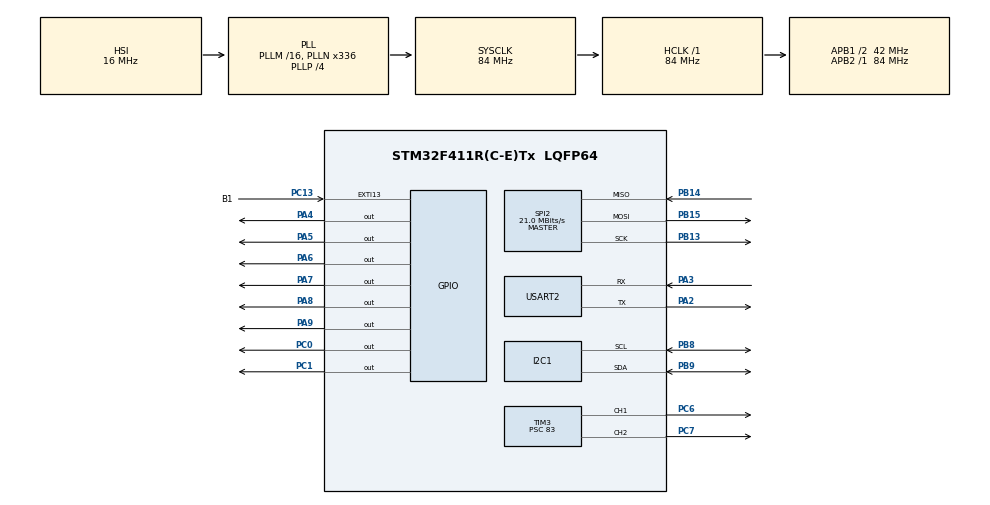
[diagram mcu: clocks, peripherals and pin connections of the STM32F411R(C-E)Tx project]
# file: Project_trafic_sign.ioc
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Mcu.Family=STM32F4
Mcu.Name=STM32F411R(C-E)Tx
Mcu.Package=LQFP64
NVIC.PriorityGroup=NVIC_PRIORITYGROUP_0
NVIC.TIM2_IRQn=true\:0\:0\:false\:false\:true\:true\:true\:true
PA2.Mode=Asynchronous
PA2.Signal=USART2_TX
PA3.Mode=Asynchronous
PA3.Signal=USART2_RX
PA4.Signal=GPIO_Output
PA5.Signal=GPIO_Output
PA6.Signal=GPIO_Output
PA7.Signal=GPIO_Output
PA8.Signal=GPIO_Output
PA9.Signal=GPIO_Output
PB13.Mode=Full_Duplex_Master
PB13.Signal=SPI2_SCK
PB14.Mode=Full_Duplex_Master
PB14.Signal=SPI2_MISO
PB15.Mode=Full_Duplex_Master
PB15.Signal=SPI2_MOSI
PB8.Mode=I2C
PB8.Signal=I2C1_SCL
PB9.Mode=I2C
PB9.Signal=I2C1_SDA
PC0.Signal=GPIO_Output
PC1.Signal=GPIO_Output
PC13-ANTI_TAMP.GPIO_Label=B1
PC13-ANTI_TAMP.GPIO_ModeDefaultEXTI=GPIO_MODE_IT_RISING_FALLING
PC13-ANTI_TAMP.Signal=GPXTI13
PC6.Signal=S_TIM3_CH1
PC7.Signal=S_TIM3_CH2
PH0\ -\ OSC_IN.Mode=HSE-External-Oscillator
PH0\ -\ OSC_IN.Signal=RCC_OSC_IN
PH1\ -\ OSC_OUT.Mode=HSE-External-Oscillator
PH1\ -\ OSC_OUT.Signal=RCC_OSC_OUT
ProjectManager.HeapSize=0x200
ProjectManager.StackSize=0x400
ProjectManager.TargetToolchain=STM32CubeIDE
RCC.48MHZClocksFreq_Value=84000000
RCC.AHBFreq_Value=84000000
RCC.APB1CLKDivider=RCC_HCLK_DIV2
RCC.APB1Freq_Value=42000000
RCC.APB1TimFreq_Value=84000000
RCC.APB2Freq_Value=84000000
RCC.APB2TimFreq_Value=84000000
RCC.CortexFreq_Value=84000000
RCC.FLatency-AdvancedSettings=FLASH_LATENCY_2
RCC.HCLKFreq_Value=84000000
RCC.HSE_VALUE=8000000
RCC.HSI_VALUE=16000000
RCC.LSE_VALUE=32768
RCC.PLLN=336
RCC.PLLP=RCC_PLLP_DIV4
RCC.SYSCLKFreq_VALUE=84000000
RCC.SYSCLKSource=RCC_SYSCLKSOURCE_PLLCLK
RCC.VCOOutputFreq_Value=336000000
SH.S_TIM3_CH1.0=TIM3_CH1,PWM Generation1 CH1
SH.S_TIM3_CH2.0=TIM3_CH2,PWM Generation2 CH2
SPI2.CalculateBaudRate=21.0 MBits/s
SPI2.Direction=SPI_DIRECTION_2LINES
SPI2.Mode=SPI_MODE_MASTER
SPI2.VirtualType=VM_MASTER
TIM2.AutoReloadPreload=TIM_AUTORELOAD_PRELOAD_ENABLE
TIM2.Period=9999
TIM2.Prescaler=8399
TIM3.Channel-PWM\ Generation1\ CH1=TIM_CHANNEL_1
TIM3.Channel-PWM\ Generation2\ CH2=TIM_CHANNEL_2
TIM3.Period=19999
TIM3.Prescaler=83
USART2.VirtualMode=VM_ASYNC
VP_TIM2_VS_ClockSourceINT.Mode=Internal
board=NUCLEO-F411RE

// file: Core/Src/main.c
/* USER CODE BEGIN Header */
/**
  ******************************************************************************
  * @file           : main.c
  * @brief          : Main program body
  ******************************************************************************
  * @attention
  *
  * Copyright (c) 2025 STMicroelectronics.
  * All rights reserved.
  *
  * This software is licensed under terms that can be found in the LICENSE file
  * in the root directory of this software component.
  * If no LICENSE file comes with this software, it is provided AS-IS.
  *
  ******************************************************************************
  */
/* USER CODE END Header */
#include "main.h"

/* USER CODE BEGIN Includes */
#include <stdbool.h>
#include <stdio.h>
#include "my_lcd_i2c.h"
#include "RC522.h"
#include "string.h"
/* USER CODE END Includes */

I2C_HandleTypeDef hi2c1;

SPI_HandleTypeDef hspi2;

TIM_HandleTypeDef htim2;
TIM_HandleTypeDef htim3;

UART_HandleTypeDef huart2;

/* USER CODE BEGIN PV */
typedef enum {
    PED_GREEN,   // 보행자 초록
    PED_YELLOW,  // 보행자 주황
    PED_RED      // 보행자 빨강
} PedestrianState;

typedef enum {
    CAR_GREEN,   // 차량 초록
    CAR_YELLOW,  // 차량 대기(노랑)
    CAR_RED      // 차량 빨강
} CarState;

volatile PedestrianState pedState = PED_RED;
volatile CarState carState = CAR_GREEN;
volatile uint32_t timer_count = 0;
/* USER CODE END PV */

void SystemClock_Config(void);
static void MX_GPIO_Init(void);
static void MX_TIM2_Init(void);
static void MX_USART2_UART_Init(void);
static void MX_TIM3_Init(void);
static void MX_I2C1_Init(void);
static void MX_SPI2_Init(void);

int main(void)
{

  /* MCU Configuration--------------------------------------------------------*/

  /* Reset of all peripherals, Initializes the Flash interface and the Systick. */
  HAL_Init();

  /* Configure the system clock */
  SystemClock_Config();

  /* Initialize all configured peripherals */
  MX_GPIO_Init();
  MX_TIM2_Init();
  MX_USART2_UART_Init();
  MX_TIM3_Init();
  MX_I2C1_Init();
  MX_SPI2_Init();
  MFRC522_Init();
  /* USER CODE BEGIN 2 */
  /* USER CODE BEGIN 2 */

  pedState = PED_RED;
  carState = CAR_GREEN;
  timer_count = 5;
  Set_LED_State(pedState, carState);
  HAL_TIM_Base_Start_IT(&htim2);
  HAL_TIM_PWM_Start(&htim3, TIM_CHANNEL_1);
  HAL_TIM_PWM_Start(&htim3, TIM_CHANNEL_2);

  Servo_Write(&htim3, TIM_CHANNEL_1, 0);    // 초기 0도로 정렬
  Servo_Write(&htim3, TIM_CHANNEL_2, 0);
  HAL_Delay(500);   // 안정화 대기

  uint8_t status;
  uint8_t str[64];

  int __io_putchar(int ch)
  {
      HAL_UART_Transmit(&huart2, (uint8_t*)&ch, 1, HAL_MAX_DELAY);
      return ch;
  }
  /* USER CODE END 2 */

  /* Infinite loop */
  while (1)
  {

    /* USER CODE BEGIN 3 */
	  status = MFRC522_Request(PICC_REQIDL, str);  // 카드 인식 확인
	      if (status == MI_OK)
	      {
	          printf("Card detected\n");
	      }

	      status = MFRC522_Anticoll(str);  // UID 읽기
	      if (status == MI_OK)
	      {
	          printf("UID: ");
	          for (int i = 0; i < 4; i++)
	          {
	              printf("%02X ", str[i]);
	          }
	          printf("\r\n");
	          HAL_Delay(1000);
	      }
  }
  /* USER CODE END 3 */
}

void SystemClock_Config(void)
{
  RCC_OscInitTypeDef RCC_OscInitStruct = {0};
  RCC_ClkInitTypeDef RCC_ClkInitStruct = {0};

  /** Configure the main internal regulator output voltage
  */
  __HAL_RCC_PWR_CLK_ENABLE();
  __HAL_PWR_VOLTAGESCALING_CONFIG(PWR_REGULATOR_VOLTAGE_SCALE1);

  /** Initializes the RCC Oscillators according to the specified parameters
  * in the RCC_OscInitTypeDef structure.
  */
  RCC_OscInitStruct.OscillatorType = RCC_OSCILLATORTYPE_HSI;
  RCC_OscInitStruct.HSIState = RCC_HSI_ON;
  RCC_OscInitStruct.HSICalibrationValue = RCC_HSICALIBRATION_DEFAULT;
  RCC_OscInitStruct.PLL.PLLState = RCC_PLL_ON;
  RCC_OscInitStruct.PLL.PLLSource = RCC_PLLSOURCE_HSI;
  RCC_OscInitStruct.PLL.PLLM = 16;
  RCC_OscInitStruct.PLL.PLLN = 336;
  RCC_OscInitStruct.PLL.PLLP = RCC_PLLP_DIV4;
  RCC_OscInitStruct.PLL.PLLQ = 4;
  if (HAL_RCC_OscConfig(&RCC_OscInitStruct) != HAL_OK)
  {
    Error_Handler();
  }

  /** Initializes the CPU, AHB and APB buses clocks
  */
  RCC_ClkInitStruct.ClockType = RCC_CLOCKTYPE_HCLK|RCC_CLOCKTYPE_SYSCLK
                              |RCC_CLOCKTYPE_PCLK1|RCC_CLOCKTYPE_PCLK2;
  RCC_ClkInitStruct.SYSCLKSource = RCC_SYSCLKSOURCE_PLLCLK;
  RCC_ClkInitStruct.AHBCLKDivider = RCC_SYSCLK_DIV1;
  RCC_ClkInitStruct.APB1CLKDivider = RCC_HCLK_DIV2;
  RCC_ClkInitStruct.APB2CLKDivider = RCC_HCLK_DIV1;

  if (HAL_RCC_ClockConfig(&RCC_ClkInitStruct, FLASH_LATENCY_2) != HAL_OK)
  {
    Error_Handler();
  }
}

static void MX_I2C1_Init(void)
{

  hi2c1.Instance = I2C1;
  hi2c1.Init.ClockSpeed = 100000;
  hi2c1.Init.DutyCycle = I2C_DUTYCYCLE_2;
  hi2c1.Init.OwnAddress1 = 0;
  hi2c1.Init.AddressingMode = I2C_ADDRESSINGMODE_7BIT;
  hi2c1.Init.DualAddressMode = I2C_DUALADDRESS_DISABLE;
  hi2c1.Init.OwnAddress2 = 0;
  hi2c1.Init.GeneralCallMode = I2C_GENERALCALL_DISABLE;
  hi2c1.Init.NoStretchMode = I2C_NOSTRETCH_DISABLE;
  if (HAL_I2C_Init(&hi2c1) != HAL_OK)
  {
    Error_Handler();
  }

}

static void MX_SPI2_Init(void)
{

  /* SPI2 parameter configuration*/
  hspi2.Instance = SPI2;
  hspi2.Init.Mode = SPI_MODE_MASTER;
  hspi2.Init.Direction = SPI_DIRECTION_2LINES;
  hspi2.Init.DataSize = SPI_DATASIZE_8BIT;
  hspi2.Init.CLKPolarity = SPI_POLARITY_LOW;
  hspi2.Init.CLKPhase = SPI_PHASE_1EDGE;
  hspi2.Init.NSS = SPI_NSS_SOFT;
  hspi2.Init.BaudRatePrescaler = SPI_BAUDRATEPRESCALER_2;
  hspi2.Init.FirstBit = SPI_FIRSTBIT_MSB;
  hspi2.Init.TIMode = SPI_TIMODE_DISABLE;
  hspi2.Init.CRCCalculation = SPI_CRCCALCULATION_DISABLE;
  hspi2.Init.CRCPolynomial = 10;
  if (HAL_SPI_Init(&hspi2) != HAL_OK)
  {
    Error_Handler();
  }

}

static void MX_TIM2_Init(void)
{

  TIM_ClockConfigTypeDef sClockSourceConfig = {0};
  TIM_MasterConfigTypeDef sMasterConfig = {0};

  htim2.Instance = TIM2;
  htim2.Init.Prescaler = 8399;
  htim2.Init.CounterMode = TIM_COUNTERMODE_UP;
  htim2.Init.Period = 9999;
  htim2.Init.ClockDivision = TIM_CLOCKDIVISION_DIV1;
  htim2.Init.AutoReloadPreload = TIM_AUTORELOAD_PRELOAD_ENABLE;
  if (HAL_TIM_Base_Init(&htim2) != HAL_OK)
  {
    Error_Handler();
  }
  sClockSourceConfig.ClockSource = TIM_CLOCKSOURCE_INTERNAL;
  if (HAL_TIM_ConfigClockSource(&htim2, &sClockSourceConfig) != HAL_OK)
  {
    Error_Handler();
  }
  sMasterConfig.MasterOutputTrigger = TIM_TRGO_RESET;
  sMasterConfig.MasterSlaveMode = TIM_MASTERSLAVEMODE_DISABLE;
  if (HAL_TIMEx_MasterConfigSynchronization(&htim2, &sMasterConfig) != HAL_OK)
  {
    Error_Handler();
  }

}

static void MX_TIM3_Init(void)
{

  TIM_MasterConfigTypeDef sMasterConfig = {0};
  TIM_OC_InitTypeDef sConfigOC = {0};

  htim3.Instance = TIM3;
  htim3.Init.Prescaler = 83;
  htim3.Init.CounterMode = TIM_COUNTERMODE_UP;
  htim3.Init.Period = 19999;
  htim3.Init.ClockDivision = TIM_CLOCKDIVISION_DIV1;
  htim3.Init.AutoReloadPreload = TIM_AUTORELOAD_PRELOAD_DISABLE;
  if (HAL_TIM_PWM_Init(&htim3) != HAL_OK)
  {
    Error_Handler();
  }
  sMasterConfig.MasterOutputTrigger = TIM_TRGO_RESET;
  sMasterConfig.MasterSlaveMode = TIM_MASTERSLAVEMODE_DISABLE;
  if (HAL_TIMEx_MasterConfigSynchronization(&htim3, &sMasterConfig) != HAL_OK)
  {
    Error_Handler();
  }
  sConfigOC.OCMode = TIM_OCMODE_PWM1;
  sConfigOC.Pulse = 0;
  sConfigOC.OCPolarity = TIM_OCPOLARITY_HIGH;
  sConfigOC.OCFastMode = TIM_OCFAST_DISABLE;
  if (HAL_TIM_PWM_ConfigChannel(&htim3, &sConfigOC, TIM_CHANNEL_1) != HAL_OK)
  {
    Error_Handler();
  }
  if (HAL_TIM_PWM_ConfigChannel(&htim3, &sConfigOC, TIM_CHANNEL_2) != HAL_OK)
  {
    Error_Handler();
  }
  HAL_TIM_MspPostInit(&htim3);

}

static void MX_USART2_UART_Init(void)
{

  huart2.Instance = USART2;
  huart2.Init.BaudRate = 115200;
  huart2.Init.WordLength = UART_WORDLENGTH_8B;
  huart2.Init.StopBits = UART_STOPBITS_1;
  huart2.Init.Parity = UART_PARITY_NONE;
  huart2.Init.Mode = UART_MODE_TX_RX;
  huart2.Init.HwFlowCtl = UART_HWCONTROL_NONE;
  huart2.Init.OverSampling = UART_OVERSAMPLING_16;
  if (HAL_UART_Init(&huart2) != HAL_OK)
  {
    Error_Handler();
  }

}

static void MX_GPIO_Init(void)
{
  GPIO_InitTypeDef GPIO_InitStruct = {0};

  /* GPIO Ports Clock Enable */
  __HAL_RCC_GPIOC_CLK_ENABLE();
  __HAL_RCC_GPIOH_CLK_ENABLE();
  __HAL_RCC_GPIOA_CLK_ENABLE();
  __HAL_RCC_GPIOB_CLK_ENABLE();

  /*Configure GPIO pin Output Level */
  HAL_GPIO_WritePin(GPIOC, GPIO_PIN_0|GPIO_PIN_1, GPIO_PIN_RESET);

  /*Configure GPIO pin Output Level */
  HAL_GPIO_WritePin(GPIOA, GPIO_PIN_4|GPIO_PIN_5|GPIO_PIN_6|GPIO_PIN_7
                          |GPIO_PIN_8|GPIO_PIN_9, GPIO_PIN_RESET);

  /*Configure GPIO pin : B1_Pin */
  GPIO_InitStruct.Pin = B1_Pin;
  GPIO_InitStruct.Mode = GPIO_MODE_IT_RISING_FALLING;
  GPIO_InitStruct.Pull = GPIO_NOPULL;
  HAL_GPIO_Init(B1_GPIO_Port, &GPIO_InitStruct);

  /*Configure GPIO pins : PC0 PC1 */
  GPIO_InitStruct.Pin = GPIO_PIN_0|GPIO_PIN_1;
  GPIO_InitStruct.Mode = GPIO_MODE_OUTPUT_PP;
  GPIO_InitStruct.Pull = GPIO_NOPULL;
  GPIO_InitStruct.Speed = GPIO_SPEED_FREQ_LOW;
  HAL_GPIO_Init(GPIOC, &GPIO_InitStruct);

  /*Configure GPIO pins : PA4 PA5 PA6 PA7
                           PA8 PA9 */
  GPIO_InitStruct.Pin = GPIO_PIN_4|GPIO_PIN_5|GPIO_PIN_6|GPIO_PIN_7
                          |GPIO_PIN_8|GPIO_PIN_9;
  GPIO_InitStruct.Mode = GPIO_MODE_OUTPUT_PP;
  GPIO_InitStruct.Pull = GPIO_NOPULL;
  GPIO_InitStruct.Speed = GPIO_SPEED_FREQ_LOW;
  HAL_GPIO_Init(GPIOA, &GPIO_InitStruct);

}

/* USER CODE BEGIN 4 */
void LED_All_Off(void)
{
    HAL_GPIO_WritePin(GPIOA, GPIO_PIN_5|GPIO_PIN_6|GPIO_PIN_7, GPIO_PIN_RESET); // 보행자 신호
    HAL_GPIO_WritePin(GPIOC, GPIO_PIN_0|GPIO_PIN_1, GPIO_PIN_RESET);           // 차량 주황, 빨강
    HAL_GPIO_WritePin(GPIOA, GPIO_PIN_4, GPIO_PIN_RESET);                      // 차량 초록
}

void Set_LED_State(PedestrianState ped, CarState car)
{
    LED_All_Off();
    // 보행자
    if (ped == PED_GREEN)
        HAL_GPIO_WritePin(GPIOA, GPIO_PIN_5, GPIO_PIN_SET);
    else if (ped == PED_YELLOW)
        HAL_GPIO_WritePin(GPIOA, GPIO_PIN_6, GPIO_PIN_SET);
    else if (ped == PED_RED)
        HAL_GPIO_WritePin(GPIOA, GPIO_PIN_7, GPIO_PIN_SET);

    // 차량
    if (car == CAR_GREEN)
        HAL_GPIO_WritePin(GPIOA, GPIO_PIN_4, GPIO_PIN_SET);
    else if (car == CAR_YELLOW)
        HAL_GPIO_WritePin(GPIOC, GPIO_PIN_0, GPIO_PIN_SET);
    else if (car == CAR_RED)
        HAL_GPIO_WritePin(GPIOC, GPIO_PIN_1, GPIO_PIN_SET);   // 차량 빨강
}
void Servo_Write(TIM_HandleTypeDef *htim, uint32_t Channel, uint8_t angle)
{
    // 0도 = 0.5ms → 500us
    // 180도 = 2.5ms → 2500us
	uint16_t min_pulse = 500;
	uint16_t max_pulse = 2500;

	if(angle > 90) angle = 90;
	uint16_t pulse = min_pulse + ((max_pulse - min_pulse) * angle) / 180;
	__HAL_TIM_SET_COMPARE(htim, Channel, pulse);
}
void HAL_TIM_PeriodElapsedCallback(TIM_HandleTypeDef *htim)
{
    if(htim->Instance == TIM2)
    {
        if(timer_count > 0)
        {
        	char lcd_buffer[17];
			sprintf(lcd_buffer, "Time: %2lu ", timer_count);
			lcd_set_cursor(1, 0);
			lcd_send_string(lcd_buffer);
            timer_count--;
        }
        else
        {
            // 상태 순환
        	if(pedState == PED_RED)
			{
				pedState = PED_YELLOW;
				carState = CAR_YELLOW;      // 보행자 주황 = 차량 대기
				timer_count = 5;

				Servo_Write(&htim3, TIM_CHANNEL_1, 0);
				Servo_Write(&htim3, TIM_CHANNEL_2, 0);

				lcd_set_cursor(0, 0);
				lcd_send_string("Ped WAIT!      ");
			}
        	else if(pedState == PED_YELLOW)
			{
				pedState = PED_GREEN;
				carState = CAR_RED;
				timer_count = 30;

				Servo_Write(&htim3, TIM_CHANNEL_1, 90);
				Servo_Write(&htim3, TIM_CHANNEL_2, 90);

				lcd_set_cursor(0, 0);
				lcd_send_string("Ped GO!         ");
			}
        	else if(pedState == PED_GREEN)
            {
            	pedState = PED_RED;
				carState = CAR_GREEN;
                timer_count = 30;

                Servo_Write(&htim3, TIM_CHANNEL_1, 0);    // PC6
				Servo_Write(&htim3, TIM_CHANNEL_2, 0);

				lcd_set_cursor(0, 0);
				lcd_send_string("Ped STOP!       ");
            }

            Set_LED_State(pedState, carState);

        }
    }
}

/* USER CODE END 4 */

void Error_Handler(void)
{
  __disable_irq();
  while (1)
  {
  }
}
